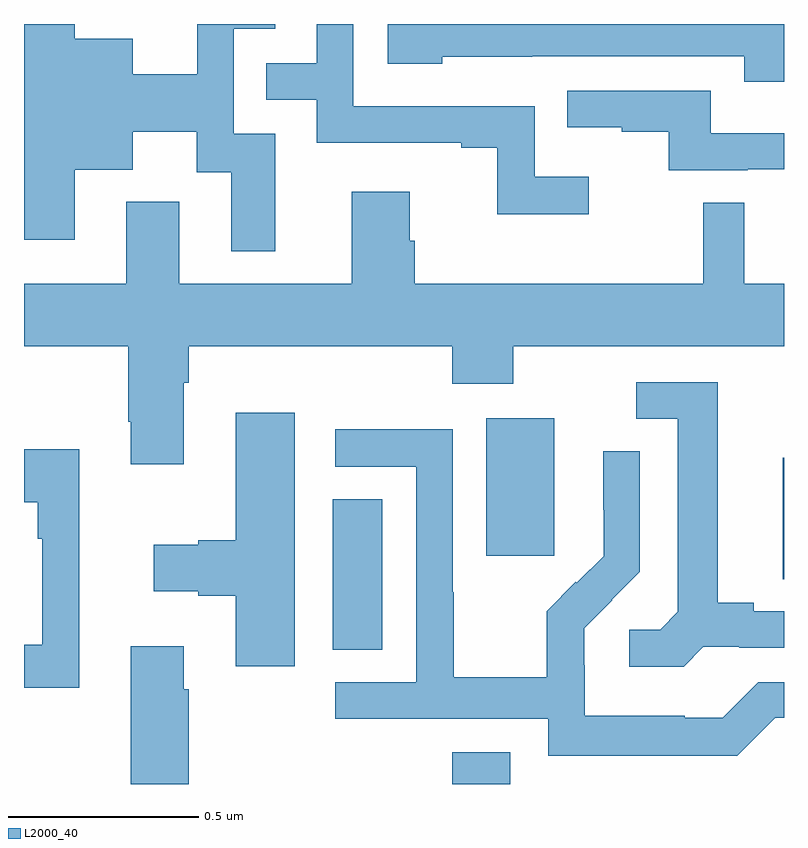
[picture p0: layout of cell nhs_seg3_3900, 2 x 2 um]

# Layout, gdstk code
import gdstk
lib = gdstk.Library(unit=1e-6, precision=1e-09)
def R(c, l, rs):  # rectangles x0, y0, x1, y1
    for r in rs: c.add(gdstk.rectangle(r[:2], r[2:], *l))
def P(c, l, *ps):  # polygons
    for p in ps: c.add(gdstk.Polygon(p, *l))
L2000_40 = (2000, 40)

nhs_seg3_3900 = lib.new_cell('nhs_seg3_3900')
R(nhs_seg3_3900, L2000_40, [(160.127,730.4,160.279,730.483), (159.812,730.753,159.943,731.15), (160.997,730.939,161,731.259), (160.217,731.001,160.396,731.362)])
P(nhs_seg3_3900, L2000_40, [(159.661,732.111),(159.552,732.111),(159.552,732.387),(159.661,732.387),(159.661,732.4),(159.456,732.4),(159.456,732.268),(159.286,732.268),(159.286,732.361),(159.133,732.361),(159.133,732.4),(159,732.4),(159,731.832),(159.133,731.832),(159.133,732.017),(159.286,732.017),(159.286,732.116),(159.455,732.116),(159.455,732.01),(159.545,732.01),(159.545,731.802),(159.661,731.802)],
  [(161,732.4),(159.957,732.4),(159.957,732.296),(160.101,732.296),(160.101,732.314),(160.337,732.314),(160.337,732.315),(160.895,732.315),(160.895,732.248),(161,732.248)],
  [(160.486,731.998),(160.344,731.998),(160.344,732.183),(159.867,732.183),(159.867,732.4),(159.771,732.4),(159.771,732.297),(159.637,732.297),(159.637,732.201),(159.771,732.201),(159.771,732.087),(160.151,732.087),(160.151,732.075),(160.246,732.075),(160.246,731.9),(160.486,731.9)],
  [(160.904,732.018),(161,732.018),(161,732.113),(160.807,732.113),(160.807,732.225),(160.429,732.225),(160.429,732.128),(160.573,732.128),(160.573,732.117),(160.697,732.117),(160.697,732.015),(160.904,732.015)],
  [(159.421,731.456),(159.434,731.456),(159.434,731.552),(160.127,731.552),(160.127,731.453),(160.287,731.453),(160.287,731.552),(161,731.552),(161,731.716),(160.896,731.716),(160.896,731.93),(160.788,731.93),(160.788,731.716),(160.028,731.716),(160.028,731.829),(160.015,731.829),(160.015,731.959),(159.863,731.959),(159.863,731.716),(159.409,731.716),(159.409,731.932),(159.269,731.932),(159.269,731.716),(159,731.716),(159,731.552),(159.274,731.552),(159.274,731.353),(159.281,731.353),(159.281,731.241),(159.421,731.241)],
  [(160.788,730.761),(160.882,730.761),(160.882,730.758),(161,730.758),(161,730.854),(160.921,730.854),(160.921,730.877),(160.825,730.877),(160.825,731.457),(160.611,731.457),(160.611,731.361),(160.721,731.361),(160.721,730.853),(160.674,730.806),(160.593,730.806),(160.593,730.709),(160.736,730.709)],
  [(159.712,731.377),(159.557,731.377),(159.557,731.042),(159.458,731.042),(159.458,731.029),(159.342,731.029),(159.342,730.907),(159.458,730.907),(159.458,730.895),(159.557,730.895),(159.557,730.71),(159.712,730.71)],
  [(160.977,730.575),(161,730.575),(161,730.668),(160.932,730.668),(160.839,730.575),(160.739,730.575),(160.739,730.579),(160.476,730.579),(160.476,730.713),(160.474,730.713),(160.474,730.81),(160.548,730.884),(160.547,730.885),(160.62,730.958),(160.62,731.276),(160.524,731.276),(160.524,731.122),(160.526,731.122),(160.526,731),(160.455,730.929),(160.452,730.932),(160.375,730.855),(160.375,730.681),(160.131,730.681),(160.131,730.904),(160.128,730.904),(160.128,731.334),(159.819,731.334),(159.819,731.235),(160.032,731.235),(160.032,730.668),(159.819,730.668),(159.819,730.572),(160.38,730.572),(160.38,730.475),(160.877,730.475)],
  [(159.146,731.281),(159,731.281),(159,731.141),(159.036,731.141),(159.036,731.045),(159.048,731.045),(159.048,730.766),(159,730.766),(159,730.653),(159.146,730.653)],
  [(159.434,730.649),(159.421,730.649),(159.421,730.762),(159.281,730.762),(159.281,730.4),(159.434,730.4)])

lib.write_gds('nhs_seg3_3900.gds')
